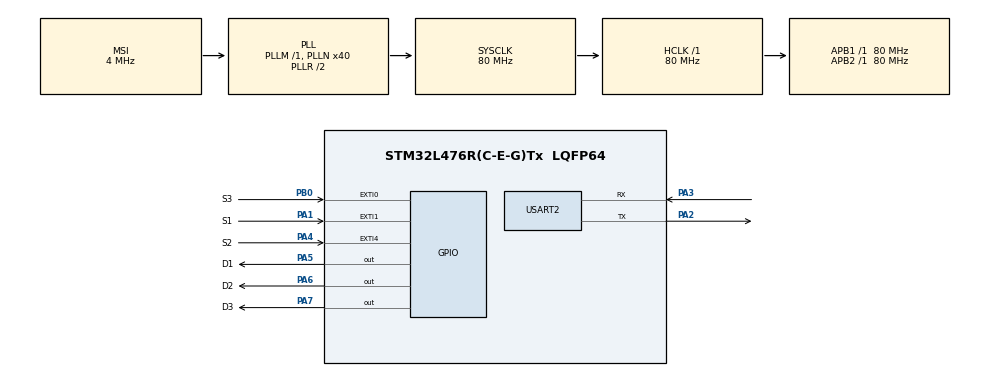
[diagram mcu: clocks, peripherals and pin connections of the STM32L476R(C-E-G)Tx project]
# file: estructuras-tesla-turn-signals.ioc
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Mcu.Family=STM32L4
Mcu.Name=STM32L476R(C-E-G)Tx
Mcu.Package=LQFP64
NVIC.EXTI0_IRQn=true\:0\:0\:false\:false\:true\:true\:true\:true
NVIC.EXTI1_IRQn=true\:0\:0\:false\:false\:true\:true\:true\:true
NVIC.EXTI4_IRQn=true\:0\:0\:false\:false\:true\:true\:true\:true
NVIC.PriorityGroup=NVIC_PRIORITYGROUP_4
NVIC.USART2_IRQn=true\:0\:0\:false\:false\:true\:true\:true\:true
PA1.GPIO_Label=S1
PA1.GPIO_ModeDefaultEXTI=GPIO_MODE_IT_FALLING
PA1.Signal=GPXTI1
PA2.Mode=Asynchronous
PA2.Signal=USART2_TX
PA3.Mode=Asynchronous
PA3.Signal=USART2_RX
PA4.GPIO_Label=S2
PA4.GPIO_ModeDefaultEXTI=GPIO_MODE_IT_FALLING
PA4.Signal=GPXTI4
PA5.GPIO_Label=D1
PA5.PinState=GPIO_PIN_SET
PA5.Signal=GPIO_Output
PA6.GPIO_Label=D2
PA6.PinState=GPIO_PIN_SET
PA6.Signal=GPIO_Output
PA7.GPIO_Label=D3
PA7.PinState=GPIO_PIN_SET
PA7.Signal=GPIO_Output
PB0.GPIO_Label=S3
PB0.GPIO_ModeDefaultEXTI=GPIO_MODE_IT_FALLING
PB0.Signal=GPXTI0
ProjectManager.HeapSize=0x200
ProjectManager.StackSize=0x400
ProjectManager.TargetToolchain=STM32CubeIDE
RCC.AHBFreq_Value=80000000
RCC.APB1Freq_Value=80000000
RCC.APB1TimFreq_Value=80000000
RCC.APB2Freq_Value=80000000
RCC.APB2TimFreq_Value=80000000
RCC.CortexFreq_Value=80000000
RCC.HCLKFreq_Value=80000000
RCC.HSE_VALUE=8000000
RCC.HSI_VALUE=16000000
RCC.LSE_VALUE=32768
RCC.MSI_VALUE=4000000
RCC.PLLN=40
RCC.SYSCLKFreq_VALUE=80000000
RCC.SYSCLKSource=RCC_SYSCLKSOURCE_PLLCLK
RCC.VCOOutputFreq_Value=160000000
USART2.VirtualMode-Asynchronous=VM_ASYNC
board=custom

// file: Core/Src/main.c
/* USER CODE BEGIN Header */
/**
  ******************************************************************************
  * @file           : main.c
  * @brief          : Main program body
  ******************************************************************************
  * @attention
  *
  * Copyright (c) 2024 STMicroelectronics.
  * All rights reserved.
  *
  * This software is licensed under terms that can be found in the LICENSE file
  * in the root directory of this software component.
  * If no LICENSE file comes with this software, it is provided AS-IS.
  *
  ******************************************************************************
  */
/* USER CODE END Header */
#include "main.h"

UART_HandleTypeDef huart2;

/* USER CODE BEGIN PV */
uint8_t left = 0;
uint8_t right = 0;
uint8_t left_2 = 0;
uint8_t right_2 = 0;
uint8_t left_pressed = 0;
uint8_t right_pressed = 0;
uint32_t blinks = 0;
/* USER CODE END PV */

void SystemClock_Config(void);
static void MX_GPIO_Init(void);
static void MX_USART2_UART_Init(void);

/* USER CODE BEGIN 0 */
void HAL_GPIO_EXTI_Callback(uint16_t GPIO_Pin)
{
	if(GPIO_Pin==S1_Pin){
		left = 1;
	}
	if(GPIO_Pin==S2_Pin){
		right = 1;
	}
	if(GPIO_Pin==S3_Pin){
		left_2 = 1;
		right_2 = 1;
	}
}

void heartbeat(void){
	static uint32_t heartbeat_tick=0;
	if(heartbeat_tick<HAL_GetTick()){
		heartbeat_tick=HAL_GetTick()+500;
		HAL_GPIO_TogglePin(D1_GPIO_Port,D1_Pin);
	}
}
/* USER CODE END 0 */

int main(void)
{

  /* MCU Configuration--------------------------------------------------------*/

  /* Reset of all peripherals, Initializes the Flash interface and the Systick. */
  HAL_Init();

  /* Configure the system clock */
  SystemClock_Config();

  /* Initialize all configured peripherals */
  MX_GPIO_Init();
  MX_USART2_UART_Init();

  /* Infinite loop */
  /* USER CODE BEGIN WHILE */
  uint8_t S1_pressed = 0;
  uint8_t S2_pressed = 0;
  while (1)
  {
	  heartbeat();
	  if(left != 0){
		  blinks = 6;
		  if (HAL_GetTick() - S1_pressed < 300){
			  blinks = 0xFFFFFFFF;
		  }
		  S1_pressed = HAL_GetTick();
		  HAL_UART_Transmit(&huart2,"Left signal\r\n",13,10);
		  for(uint32_t i = 0; i<blinks; i++){
			  if(right == 0){
				  HAL_GPIO_TogglePin(D2_GPIO_Port, D2_Pin);
				  HAL_Delay(500);
			  }
		  }
		  HAL_GPIO_WritePin(D2_GPIO_Port, D2_Pin, 1);
		  left = 0;
		  blinks = 0;
	  }

	  if(right != 0){
		  blinks = 6;
		  if (HAL_GetTick() - S2_pressed < 300){
			  blinks = 0xFFFFFFFF;
		  }
		  S2_pressed = HAL_GetTick();
		  HAL_UART_Transmit(&huart2,"Right Signal\r\n",14,10);
		  for(uint32_t i = 0; i<blinks; i++){
			  if(left == 0){
				  HAL_GPIO_TogglePin(D3_GPIO_Port, D3_Pin);
				  HAL_Delay(500);
			  }
		  }
		  HAL_GPIO_WritePin(D3_GPIO_Port, D3_Pin, 1);
		  right = 0;
		  blinks = 0;
	  }

	  if(right_2!=0 && left_2!=0){
		  HAL_UART_Transmit(&huart2,"Stationary signal\r\n",19,10);
		  for(uint8_t i = 0; i<6; i++){
			  if(left == 0 || right==0){
				  HAL_GPIO_TogglePin(D2_GPIO_Port, D2_Pin);
				  HAL_GPIO_TogglePin(D3_GPIO_Port, D3_Pin);
				  HAL_Delay(500);
			  }
		  }
		  HAL_GPIO_WritePin(D2_GPIO_Port, D2_Pin, 1);
		  HAL_GPIO_WritePin(D3_GPIO_Port, D3_Pin, 1);
		  left_2 = 0;
		  right_2 = 0;
	  }
  }
    /* USER CODE END WHILE */

}

void SystemClock_Config(void)
{
  RCC_OscInitTypeDef RCC_OscInitStruct = {0};
  RCC_ClkInitTypeDef RCC_ClkInitStruct = {0};

  /** Configure the main internal regulator output voltage
  */
  if (HAL_PWREx_ControlVoltageScaling(PWR_REGULATOR_VOLTAGE_SCALE1) != HAL_OK)
  {
    Error_Handler();
  }

  /** Initializes the RCC Oscillators according to the specified parameters
  * in the RCC_OscInitTypeDef structure.
  */
  RCC_OscInitStruct.OscillatorType = RCC_OSCILLATORTYPE_MSI;
  RCC_OscInitStruct.MSIState = RCC_MSI_ON;
  RCC_OscInitStruct.MSICalibrationValue = 0;
  RCC_OscInitStruct.MSIClockRange = RCC_MSIRANGE_6;
  RCC_OscInitStruct.PLL.PLLState = RCC_PLL_ON;
  RCC_OscInitStruct.PLL.PLLSource = RCC_PLLSOURCE_MSI;
  RCC_OscInitStruct.PLL.PLLM = 1;
  RCC_OscInitStruct.PLL.PLLN = 40;
  RCC_OscInitStruct.PLL.PLLP = RCC_PLLP_DIV7;
  RCC_OscInitStruct.PLL.PLLQ = RCC_PLLQ_DIV2;
  RCC_OscInitStruct.PLL.PLLR = RCC_PLLR_DIV2;
  if (HAL_RCC_OscConfig(&RCC_OscInitStruct) != HAL_OK)
  {
    Error_Handler();
  }

  /** Initializes the CPU, AHB and APB buses clocks
  */
  RCC_ClkInitStruct.ClockType = RCC_CLOCKTYPE_HCLK|RCC_CLOCKTYPE_SYSCLK
                              |RCC_CLOCKTYPE_PCLK1|RCC_CLOCKTYPE_PCLK2;
  RCC_ClkInitStruct.SYSCLKSource = RCC_SYSCLKSOURCE_PLLCLK;
  RCC_ClkInitStruct.AHBCLKDivider = RCC_SYSCLK_DIV1;
  RCC_ClkInitStruct.APB1CLKDivider = RCC_HCLK_DIV1;
  RCC_ClkInitStruct.APB2CLKDivider = RCC_HCLK_DIV1;

  if (HAL_RCC_ClockConfig(&RCC_ClkInitStruct, FLASH_LATENCY_4) != HAL_OK)
  {
    Error_Handler();
  }
}

static void MX_USART2_UART_Init(void)
{

  huart2.Instance = USART2;
  huart2.Init.BaudRate = 115200;
  huart2.Init.WordLength = UART_WORDLENGTH_8B;
  huart2.Init.StopBits = UART_STOPBITS_1;
  huart2.Init.Parity = UART_PARITY_NONE;
  huart2.Init.Mode = UART_MODE_TX_RX;
  huart2.Init.HwFlowCtl = UART_HWCONTROL_NONE;
  huart2.Init.OverSampling = UART_OVERSAMPLING_16;
  huart2.Init.OneBitSampling = UART_ONE_BIT_SAMPLE_DISABLE;
  huart2.AdvancedInit.AdvFeatureInit = UART_ADVFEATURE_NO_INIT;
  if (HAL_UART_Init(&huart2) != HAL_OK)
  {
    Error_Handler();
  }

}

static void MX_GPIO_Init(void)
{
  GPIO_InitTypeDef GPIO_InitStruct = {0};

  /* GPIO Ports Clock Enable */
  __HAL_RCC_GPIOA_CLK_ENABLE();
  __HAL_RCC_GPIOB_CLK_ENABLE();

  /*Configure GPIO pin Output Level */
  HAL_GPIO_WritePin(GPIOA, D1_Pin|D2_Pin|D3_Pin, GPIO_PIN_SET);

  /*Configure GPIO pins : S1_Pin S2_Pin */
  GPIO_InitStruct.Pin = S1_Pin|S2_Pin;
  GPIO_InitStruct.Mode = GPIO_MODE_IT_FALLING;
  GPIO_InitStruct.Pull = GPIO_NOPULL;
  HAL_GPIO_Init(GPIOA, &GPIO_InitStruct);

  /*Configure GPIO pins : D1_Pin D2_Pin D3_Pin */
  GPIO_InitStruct.Pin = D1_Pin|D2_Pin|D3_Pin;
  GPIO_InitStruct.Mode = GPIO_MODE_OUTPUT_PP;
  GPIO_InitStruct.Pull = GPIO_NOPULL;
  GPIO_InitStruct.Speed = GPIO_SPEED_FREQ_LOW;
  HAL_GPIO_Init(GPIOA, &GPIO_InitStruct);

  /*Configure GPIO pin : S3_Pin */
  GPIO_InitStruct.Pin = S3_Pin;
  GPIO_InitStruct.Mode = GPIO_MODE_IT_FALLING;
  GPIO_InitStruct.Pull = GPIO_NOPULL;
  HAL_GPIO_Init(S3_GPIO_Port, &GPIO_InitStruct);

  /* EXTI interrupt init*/
  HAL_NVIC_SetPriority(EXTI0_IRQn, 0, 0);
  HAL_NVIC_EnableIRQ(EXTI0_IRQn);

  HAL_NVIC_SetPriority(EXTI1_IRQn, 0, 0);
  HAL_NVIC_EnableIRQ(EXTI1_IRQn);

  HAL_NVIC_SetPriority(EXTI4_IRQn, 0, 0);
  HAL_NVIC_EnableIRQ(EXTI4_IRQn);

}

void Error_Handler(void)
{
  __disable_irq();
  while (1)
  {
  }
}
